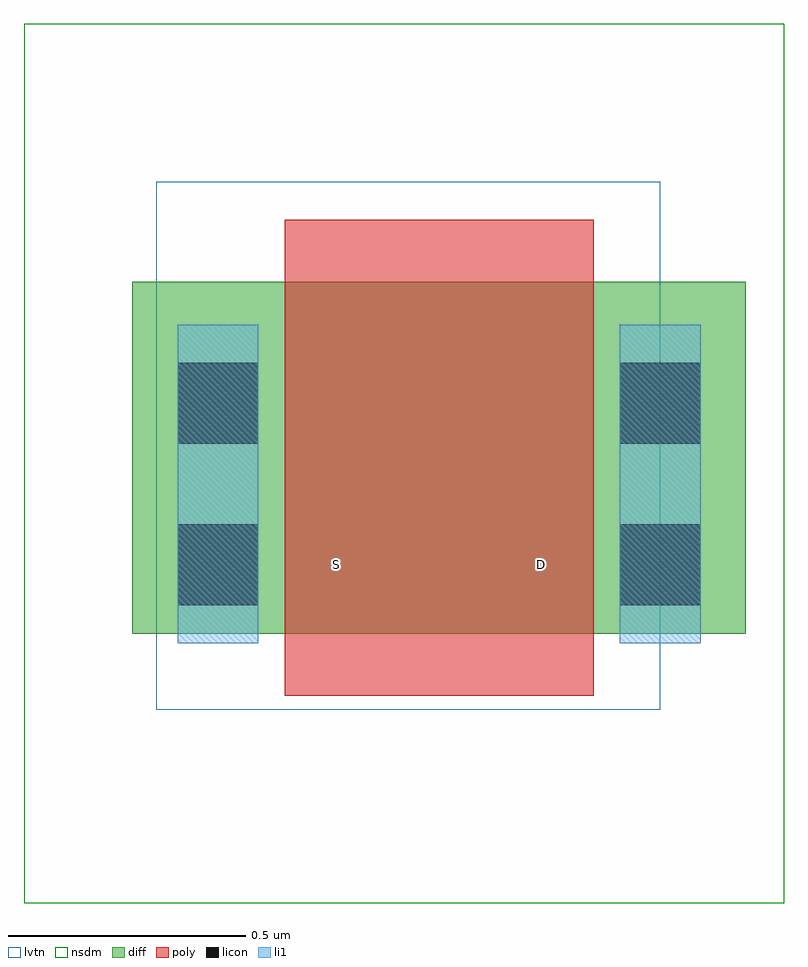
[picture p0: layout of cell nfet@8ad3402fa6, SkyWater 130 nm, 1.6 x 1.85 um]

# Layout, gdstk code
from math import pi, radians
import gdstk
lib = gdstk.Library(unit=1e-6, precision=1e-09)
def R(c, l, rs):  # rectangles x0, y0, x1, y1
    for r in rs: c.add(gdstk.rectangle(r[:2], r[2:], *l))
diff = (65, 20)
poly = (66, 20)
licon = (66, 44)
li1 = (67, 20)
nsdm = (93, 44)
lvtn = (125, 44)

dfl1sd_bd768060f0 = lib.new_cell('DFL1sd@bd768060f0')
R(dfl1sd_bd768060f0, licon, [(0.055,0.06,0.225,0.23), (0.055,0.4,0.225,0.57)])
R(dfl1sd_bd768060f0, li1, [(0.055,-0.02,0.225,0.65)])

nfet_8ad3402fa6 = lib.new_cell('nfet@8ad3402fa6')
R(nfet_8ad3402fa6, diff, [(-0.57,0,0.72,0.74)])
R(nfet_8ad3402fa6, poly, [(-0.25,-0.13,0.4,0.87), (-0.25,-0.13,0.4,0), (-0.25,0.74,0.4,0.87)])
R(nfet_8ad3402fa6, li1, [(-0.475,-0.02,-0.305,0.31), (0.455,-0.02,0.625,0.31)])
R(nfet_8ad3402fa6, nsdm, [(-0.798,-0.567,0.8,1.283), (-0.25,-0.125,0.4,0.865)])
R(nfet_8ad3402fa6, lvtn, [(-0.52,-0.16,0.54,0.95)])
nfet_8ad3402fa6.add(gdstk.Reference(dfl1sd_bd768060f0, (-0.25,0), rotation=pi, x_reflection=True))
nfet_8ad3402fa6.add(gdstk.Reference(dfl1sd_bd768060f0, (0.4,0)))
nfet_8ad3402fa6.add(gdstk.Label('S', (-0.14,0.145), layer=83, texttype=44))
nfet_8ad3402fa6.add(gdstk.Label('D', (0.29,0.145), layer=83, texttype=44))

lib.write_gds('nfet_8ad3402fa6.gds')
